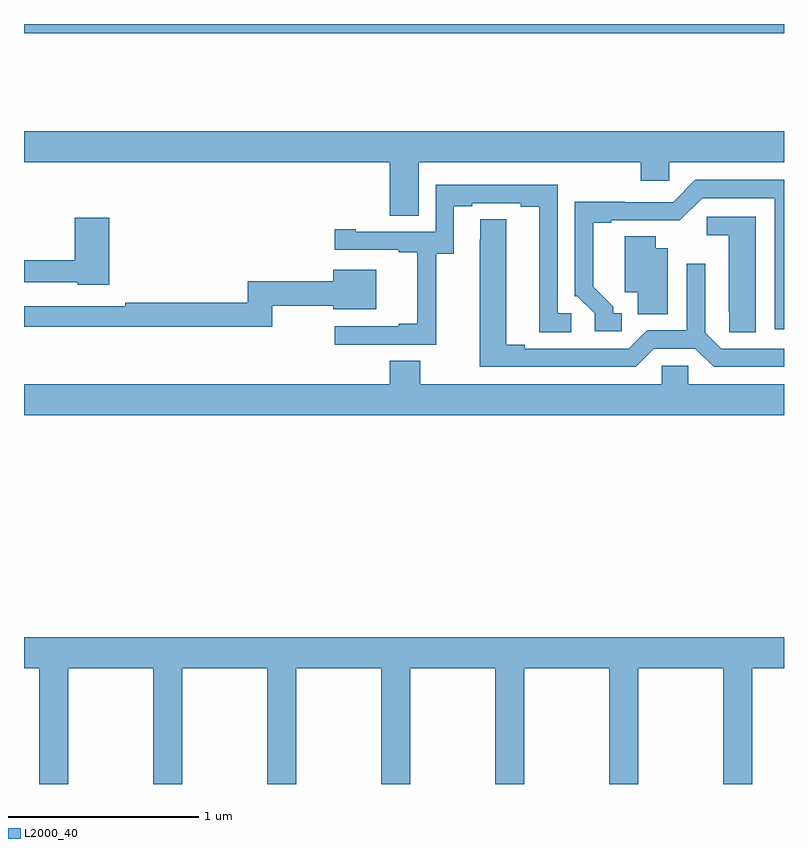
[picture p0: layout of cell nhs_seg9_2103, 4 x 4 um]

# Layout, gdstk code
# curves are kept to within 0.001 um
import gdstk
lib = gdstk.Library(unit=1e-6, precision=1e-09)
def R(c, l, rs):  # rectangles x0, y0, x1, y1
    for r in rs: c.add(gdstk.rectangle(r[:2], r[2:], *l))
def P(c, l, *ps):  # polygons
    for p in ps: c.add(gdstk.Polygon(p, *l))
L2000_40 = (2000, 40)

nhs_seg9_2103 = lib.new_cell('nhs_seg9_2103')
R(nhs_seg9_2103, L2000_40, [(231,1178.452,235,1178.5)])
P(nhs_seg9_2103, L2000_40, [(233.077,1177.772),(234.245,1177.772),(234.245,1177.674),(234.396,1177.674),(234.396,1177.772),(235,1177.772),(235,1177.936),(231,1177.936),(231,1177.772),(232.925,1177.772),(232.925,1177.492),(233.077,1177.492)],
  [(234.145,1176.978),(234.1,1176.978),(234.1,1177.013),(233.995,1177.118),(233.995,1177.455),(234.091,1177.455),(234.091,1177.467),(234.452,1177.466),(234.57,1177.584),(234.95,1177.584),(234.95,1176.894),(235,1176.894),(235,1177.68),(234.534,1177.68),(234.417,1177.563),(234.161,1177.563),(234.161,1177.565),(233.898,1177.565),(233.898,1177.068),(233.913,1177.068),(234.003,1176.978),(234.003,1176.882),(234.145,1176.882)],
  [(233.169,1177.291),(233.263,1177.291),(233.263,1177.542),(233.359,1177.542),(233.359,1177.557),(233.615,1177.557),(233.615,1177.537),(233.711,1177.537),(233.711,1176.877),(233.881,1176.877),(233.881,1176.978),(233.808,1176.978),(233.808,1177.653),(233.166,1177.653),(233.166,1177.407),(232.747,1177.407),(232.747,1177.42),(232.635,1177.42),(232.635,1177.311),(232.973,1177.311),(232.973,1177.299),(233.069,1177.299),(233.069,1176.922),(232.973,1176.922),(232.973,1176.909),(232.635,1176.909),(232.635,1176.813),(233.169,1176.813)],
  [(234.85,1177.485),(234.594,1177.485),(234.594,1177.388),(234.71,1177.388),(234.71,1176.985),(234.711,1176.985),(234.711,1176.877),(234.85,1176.877)],
  [(231.449,1177.48),(231.266,1177.48),(231.266,1177.256),(231,1177.256),(231,1177.14),(231.282,1177.14),(231.282,1177.127),(231.449,1177.127)],
  [(234.315,1176.792),(234.533,1176.792),(234.629,1176.696),(235,1176.696),(235,1176.792),(234.669,1176.792),(234.585,1176.876),(234.585,1177.237),(234.489,1177.237),(234.489,1176.888),(234.279,1176.888),(234.183,1176.792),(233.635,1176.792),(233.635,1176.812),(233.539,1176.812),(233.539,1177.472),(233.4,1177.472),(233.399,1176.696),(234.219,1176.696)],
  [(234.388,1177.321),(234.325,1177.321),(234.325,1177.382),(234.161,1177.382),(234.161,1177.088),(234.23,1177.088),(234.23,1176.973),(234.388,1176.973)],
  [(232.306,1177.017),(232.628,1177.017),(232.628,1176.998),(232.855,1176.998),(232.855,1177.207),(232.628,1177.207),(232.628,1177.145),(232.177,1177.145),(232.177,1177.034),(231.532,1177.034),(231.532,1177.014),(231,1177.014),(231,1176.906),(232.306,1176.906)],
  [(235,1176.604),(234.495,1176.604),(234.495,1176.702),(234.357,1176.702),(234.357,1176.604),(233.085,1176.604),(233.085,1176.728),(232.925,1176.728),(232.925,1176.604),(231,1176.604),(231,1176.44),(235,1176.44)],
  [(231.234,1175.108),(231.679,1175.108),(231.679,1174.5),(231.834,1174.5),(231.834,1175.108),(232.279,1175.108),(232.279,1174.5),(232.434,1174.5),(232.434,1175.108),(232.879,1175.108),(232.879,1174.5),(233.034,1174.5),(233.034,1175.108),(233.479,1175.108),(233.479,1174.5),(233.634,1174.5),(233.634,1175.108),(234.079,1175.108),(234.079,1174.5),(234.234,1174.5),(234.234,1175.108),(234.679,1175.108),(234.679,1174.5),(234.834,1174.5),(234.834,1175.108),(235,1175.108),(235,1175.272),(231,1175.272),(231,1175.108),(231.079,1175.108),(231.079,1174.5),(231.234,1174.5)])

lib.write_gds('nhs_seg9_2103.gds')
